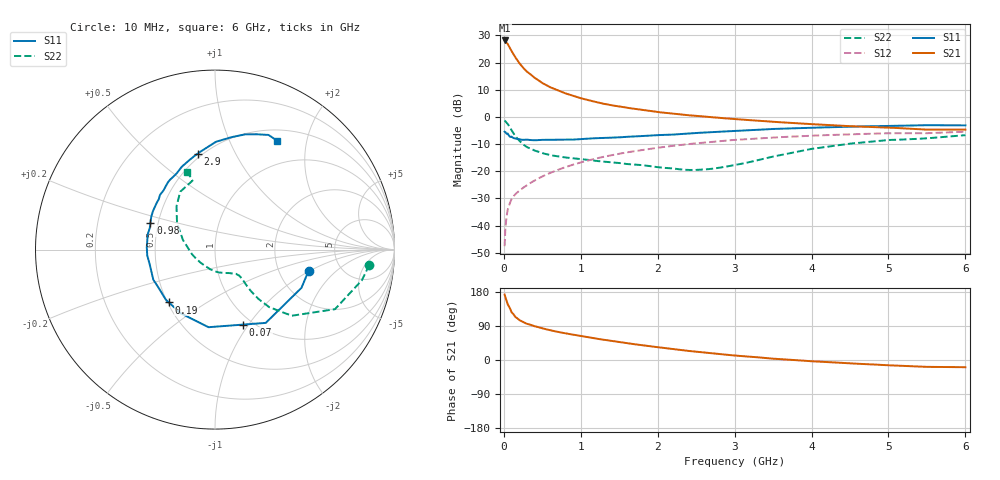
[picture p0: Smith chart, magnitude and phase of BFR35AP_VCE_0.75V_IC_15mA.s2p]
! Infineon Technologies  Discrete & RF Semiconductors
! BFR35AP
! VCE = 0.75 V,  IC =  15 mA
! Common Emitter S-Parameters:  Nov 2015
# GHz  S  MA  R  50
!  f  S11  S21  S12  S22
! GHz  MAG  ANG  MAG  ANG  MAG  ANG  MAG  ANG
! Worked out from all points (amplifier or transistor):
!   210 points, 10 MHz to 6 GHz, reference 50 ohm
!   highest |S21| = 28.1 dB at 10 MHz (marker M1)
!   |S21| within 3 dB of that: start of sweep to 82.38 MHz
!   unconditionally stable (mu >= 1): 229.8 MHz to end of sweep
!   at 185 MHz: K = 0.89, MSG = 24.0 dB, |S12| = -27.5 dB
!   at 1.52 GHz: K = 1.34, MAG = 5.1 dB, |S12| = -13.4 dB
!   at 6 GHz: K = 1.11, MAG = -1.7 dB, |S12| = -5.4 dB
!   S11 on the Smith chart (normalised r, x): 10 MHz: 2.95, -0.97; 70 MHz: 0.90, -0.94; 190 MHz: 0.51, -0.35; 980 MHz: 0.45, +0.16; 2.9 GHz: 0.47, +0.72; 6 GHz: 0.64, +1.53
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0.01  0.5351 -12.7  25.48 172.5  0.0042 81.7  0.864 -5.7
0.02  0.5266 -23.9  24.94 165.3  0.0089 77.8  0.8359 -11.8
0.05  0.4967 -55.3  22.02 147.1  0.0196 68.3  0.7464 -26.4
0.07  0.4458 -69.6  19.45 140.2  0.024 63.0  0.6692 -31.2
0.1  0.4339 -94.8  16.33 126.1  0.0309 58.0  0.565 -40.7
0.15  0.4028 -118.3  12.41 113.5  0.038 55.9  0.4404 -46.7
0.19  0.3909 -131.1  10.32 107.5  0.0427 56.2  0.3814 -48.2
0.2  0.3911 -134.4  9.82 105.6  0.0439 56.3  0.3667 -48.6
0.24  0.3802 -143.9  8.358 101.1  0.0485 56.8  0.3236 -49.0
0.3  0.3824 -154.0  6.803 95.5  0.0555 59.2  0.2791 -48.9
0.4  0.3726 -166.1  5.248 89.1  0.0677 61.1  0.241 -47.7
0.5  0.379 -175.1  4.203 83.4  0.0803 62.6  0.2156 -47.1
0.7  0.3808 171.6  3.075 74.2  0.1058 63.3  0.1882 -47.9
0.98  0.3889 157.6  2.254 64.0  0.143 62.0  0.1695 -51.5
1.02  0.3924 155.8  2.172 62.5  0.1482 61.7  0.1672 -52.5
1.4  0.4168 141.2  1.637 50.4  0.1976 57.7  0.1462 -63.8
2.02  0.4638 122.2  1.221 33.2  0.2734 49.4  0.1182 -92.6
2.9  0.5428 100.3  0.938 13.9  0.3682 36.2  0.1226 -161.7
3.1  0.5604 96.5  0.893 10.3  0.3855 32.9  0.1386 -175.8
4.1  0.6383 80.4  0.724 -4.3  0.4579 18.2  0.2698 141.8
5.1  0.6866 69.2  0.627 -14.7  0.5003 4.7  0.3801 118.3
6  0.6989 60.2  0.584 -19.0  0.5353 -4.6  0.4614 109.5
